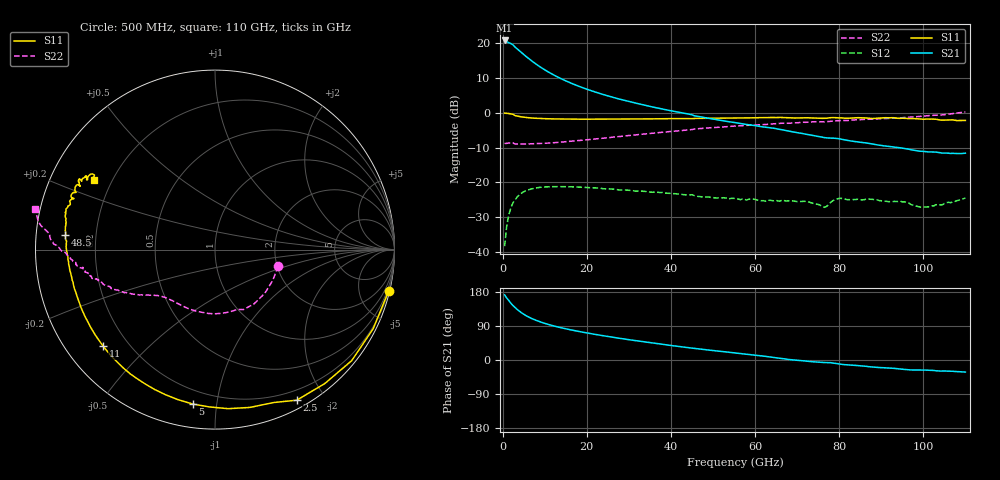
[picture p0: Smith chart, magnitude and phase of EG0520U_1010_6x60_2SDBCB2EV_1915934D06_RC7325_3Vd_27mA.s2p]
!File name = EG0520U_1010_6x60_2SDBCB2EV_1915934D06_RC7325_3Vd_27mA.s2p
!Base file name = EG0520U_1010_6x60_2SDBCB2EV_1915934D06_RC7325
!Date = 8/23/2019
!Time = 1:09 PM
!Test duration(min) = 0.15
!Test = S-Parameters
!MPTS version = 8.91.5
!State File = C:\Data\PNA\20190821205423\S-Parameters_2019-08-23.sta
!Cal File =
!ComputerName = CMPE-LAB-6
!Comments =
!Attenuation = 0
!Z0 = 50
!Input Power(dBm) = -13.00
!Device ID = EG0520U_1010_6x60_2SDBCB2EV
!Row = 73
!Column = 25
!Technology = QPHT09
!Lot/Wafer = 1915934D06
!Gate Size = 360
!Mask = EG0520
!Cal Standards = GaAs BCB
!Cal Kit = EG2306
!Job Number = 20190821205423
!Device Type = FET
!set_Vg(v) = -1.500
!set_Vd(v) = 3.000
!set_Vd(mA) = 27.000
!file_name = EG0520U_1010_6x60_2SDBCB2EV_1915934D06_RC7325_3Vd_27mA.s2p
!Vd(V) = 3.000
!Vd(mA) = 27.017
!Vg(V) = -0.591
!Vg(mA) = -0.003
# GHz  S  DB  R  50
!%	Freq(GHz)  s11(dB)  s11(deg)  s21(dB)  s21(deg)  s12(dB)  s12(deg)  s22(dB)  s22(deg)
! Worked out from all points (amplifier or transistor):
!   220 points, 500 MHz to 110 GHz, reference 50 ohm
!   highest |S21| = 20.8 dB at 500 MHz (marker M1)
!   |S21| within 3 dB of that: start of sweep to 4.054 GHz
!   unconditionally stable (mu >= 1): 36.8 GHz to 104.8 GHz
!   at 18.5 GHz: K = 0.49, MSG = 14.4 dB, |S12| = -21.3 dB
!   at 55.5 GHz: K = 1.44, MAG = 6.9 dB, |S12| = -24.6 dB
!   at 110 GHz: K = -1.49, MSG = 6.4 dB, |S12| = -24.5 dB
!   S11 on the Smith chart (normalised r, x): 500 MHz: 0.20, -8.50; 2.5 GHz: 0.09, -1.68; 5 GHz: 0.12, -0.86; 11 GHz: 0.11, -0.37; 48.5 GHz: 0.09, +0.05; 110 GHz: 0.13, +0.26
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0.5  -0.05 -13.4  20.83 171.8  -38.31 81.6  -8.77 -14.7
1  -0.13 -26.6  20.49 163.6  -32.51 74.6  -8.76 -28.4
1.5  -0.16 -39.1  20.19 156.9  -29.30 67.6  -8.65 -41.4
2  -0.31 -50.7  19.94 149.6  -27.24 61.0  -8.58 -54.2
2.5  -0.40 -61.5  19.55 143.5  -25.82 55.4  -8.64 -64.7
3.5  -0.91 -77.6  18.41 133.3  -24.15 46.7  -8.96 -77.0
4.5  -1.14 -92.1  17.35 124.7  -23.07 39.1  -8.93 -90.5
5  -1.22 -98.2  16.84 121.1  -22.70 36.0  -8.93 -96.0
6  -1.37 -108.9  15.84 114.5  -22.17 30.8  -8.92 -105.1
7.5  -1.51 -121.1  14.43 106.7  -21.69 24.6  -8.85 -115.1
9  -1.60 -130.1  13.17 100.5  -21.39 20.0  -8.80 -121.6
11  -1.69 -139.4  11.69 93.5  -21.23 15.1  -8.67 -128.2
14.5  -1.77 -150.7  9.51 83.7  -21.20 9.1  -8.34 -135.4
19  -1.81 -159.9  7.26 73.5  -21.38 3.7  -7.84 -140.6
26.5  -1.79 -169.6  4.39 59.5  -21.92 -1.3  -6.93 -145.7
37  -1.69 -178.0  1.37 42.8  -22.83 -4.6  -5.67 -151.5
48.5  -1.54 174.4  -1.45 26.9  -24.18 -5.8  -4.35 -158.7
55.5  -1.49 170.3  -2.83 18.4  -24.57 -6.7  -3.75 -162.5
73.5  -1.45 160.7  -6.43 -4.4  -25.91 -12.7  -2.57 -171.3
92  -1.41 152.6  -9.66 -21.4  -25.52 -22.6  -1.57 -178.9
101  -1.76 151.3  -11.20 -26.8  -27.04 -22.3  -0.78 176.8
110  -2.17 150.1  -11.58 -31.8  -24.45 -20.0  0.24 167.4
